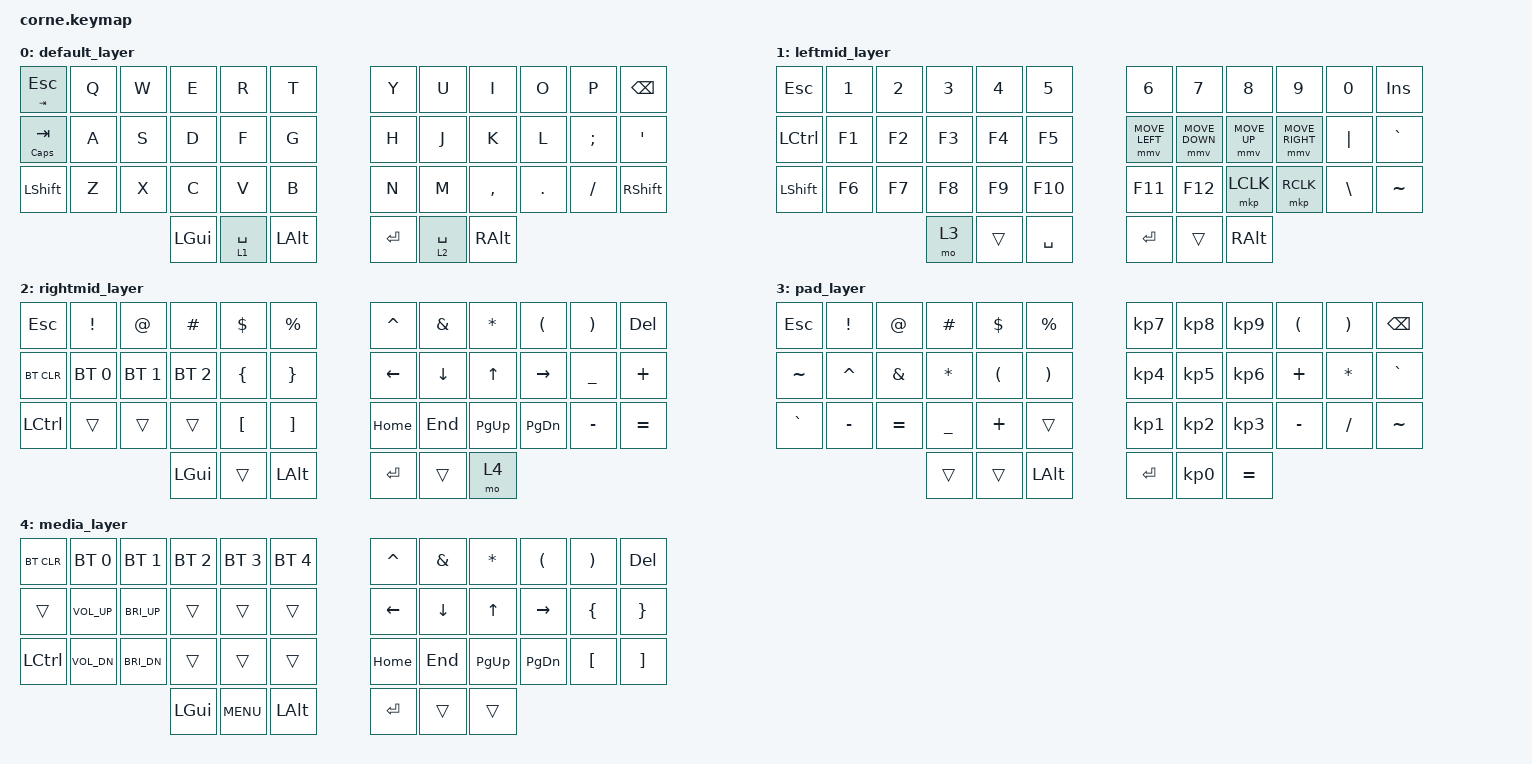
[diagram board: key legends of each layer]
/*
 * Copyright (c) 2020 The ZMK Contributors
 *
 * SPDX-License-Identifier: MIT
 */

#include <behaviors.dtsi>
#include <dt-bindings/zmk/bt.h>
#include <dt-bindings/zmk/keys.h>
#include <dt-bindings/zmk/pointing.h>
#include <dt-bindings/zmk/pointing.h>

/ {
    keymap {
        compatible = "zmk,keymap";

        default_layer {
            // -----------------------------------------------------------------------------------------
            // | E/T  |  Q  |  W  |  E  |  R  |  T  |   |  Y  |  U   |  I  |  O  |  P  | BSPC |
            // | CAPS |  A  |  S  |  D  |  F  |  G  |   |  H  |  J   |  K  |  L  |  ;  |  '   |
            // | SHFT |  Z  |  X  |  C  |  V  |  B  |   |  N  |  M   |  ,  |  .  |  /  | RSHFT|
            //                    | GUI |SPC/1| ALT |   | ENT | SPC/2| ALT |

            bindings = <
&mt TAB ESC   &kp Q  &kp W  &kp E     &kp R        &kp T       &kp Y    &kp U        &kp I      &kp O    &kp P     &kp BSPC
&mt CAPS TAB  &kp A  &kp S  &kp D     &kp F        &kp G       &kp H    &kp J        &kp K      &kp L    &kp SEMI  &kp SQT
&kp LSHFT     &kp Z  &kp X  &kp C     &kp V        &kp B       &kp N    &kp M        &kp COMMA  &kp DOT  &kp FSLH  &kp RSHFT
                            &kp LGUI  &lt 1 SPACE  &kp LALT    &kp RET  &lt 2 SPACE  &kp RALT
            >;
        };

        leftmid_layer {
            // -----------------------------------------------------------------------------------------
            // |  ESC |  1  |  2  |  3  |  4  |  5  |   |  6  |  7  |  8  |  9  |  0  | INS  |
            // | CTRL |  f1 | f2  | f3  |  f4 |  5  |   | LFT | DWN |  UP | RGT | "|" |  `   |
            // | SHFT |  f  | f   | f8  |  f9 | f10 |   | F11 | F12 |  {  |  }  |  \  |  ~   |
            //                    | pad |     | SPC |   | ENT |     | ALT |

            bindings = <
&kp ESC    &kp N1  &kp N2  &kp N3  &kp N4  &kp N5       &kp N6          &kp N7          &kp N8        &kp N9           &kp N0    &kp INS
&kp LCTRL  &kp F1  &kp F2  &kp F3  &kp F4  &kp F5       &mmv MOVE_LEFT  &mmv MOVE_DOWN  &mmv MOVE_UP  &mmv MOVE_RIGHT  &kp PIPE  &kp GRAVE
&kp LSHFT  &kp F6  &kp F7  &kp F8  &kp F9  &kp F10      &kp F11         &kp F12         &mkp LCLK     &mkp RCLK        &kp BSLH  &kp TILDE
                           &mo 3   &trans  &kp SPACE    &kp RET         &trans          &kp RALT
            >;
        };

        rightmid_layer {
            // -----------------------------------------------------------------------------------------
            // |  ESC |  !  |  @  |  #  |  $  |  %  |   |  ^  |  &  |  *  |  (  |  )  | DEL  |
            // | BTCLR| BT1 | BT2 | BT3 |  {  |  }  |   | LFT | DWN |  UP | RGT |  _  |  =   |
            // | LCTRL|     |     |     |  [  |  ]  |   | HOM | END | PUP | PDN |  -  |  +   |
            //                    | GUI |     | ALT |   | ENT |     |  4  |

            bindings = <
&kp ESC     &kp EXCL      &kp AT        &kp HASH      &kp DLLR  &kp PRCNT    &kp CARET  &kp AMPS  &kp ASTRK  &kp LPAR   &kp RPAR   &kp DEL
&bt BT_CLR  &bt BT_SEL 0  &bt BT_SEL 1  &bt BT_SEL 2  &kp LBRC  &kp RBRC     &kp LEFT   &kp DOWN  &kp UP     &kp RIGHT  &kp UNDER  &kp PLUS
&kp LCTRL   &trans        &trans        &trans        &kp LBKT  &kp RBKT     &kp HOME   &kp END   &kp PG_UP  &kp PG_DN  &kp MINUS  &kp EQUAL
                                        &kp LGUI      &trans    &kp LALT     &kp RET    &trans    &mo 4
            >;
        };

        pad_layer {
            // -----------------------------------------------------------------------------------------
            // | ESC |  !  |  @  |  #  |  $  |  %  |   |  7  |  8  |  9  |  (  |  )  | BSPC |
            // |  ~  |  ^  |  &  |  *  |  (  |  )  |   |  4  |  5  |  6  |  +  |  *  |  `   |
            // |  `  |  -  |  =  |  _  |  +  |     |   |  1  |  2  |  3  |  -  |  /  |  ~   |
            //                   |     |     | ALT |   | ENT |  0  |  =  |

            bindings = <
&kp ESC    &kp EXCL   &kp AT     &kp HASH   &kp DLLR  &kp PRCNT    &kp KP_N7  &kp KP_N8  &kp KP_N9  &kp LPAR   &kp RPAR   &kp BSPC
&kp TILDE  &kp CARET  &kp AMPS   &kp ASTRK  &kp LPAR  &kp RPAR     &kp KP_N4  &kp KP_N5  &kp KP_N6  &kp PLUS   &kp ASTRK  &kp GRAVE
&kp GRAVE  &kp MINUS  &kp EQUAL  &kp UNDER  &kp PLUS  &trans       &kp KP_N1  &kp KP_N2  &kp KP_N3  &kp MINUS  &kp FSLH   &kp TILDE
                                 &trans     &trans    &kp LALT     &kp RET    &kp KP_N0  &kp EQUAL
            >;
        };

        media_layer {
            // -----------------------------------------------------------------------------------------
            // | BTCLR| BT1 | BT2 | BT3 | BT4  | BT5 |   |  ^  |  &  |  *  |  (  |  )  | DEL  |
            // |      |VOLUP|BRIUP| BT3 |      |     |   | LFT | DWN |  UP | RGT |  _  |  =   |
            // | LCTRL|VOLDN|   DN|     |      |     |   | HOM | END | PUP | PDN |  -  |  +   |
            //                    | GUI | MENU | ALT |   | ENT |     |    |

            bindings = <
&bt BT_CLR  &bt BT_SEL 0  &bt BT_SEL 1  &bt BT_SEL 2  &bt BT_SEL 3  &bt BT_SEL 4    &kp CARET  &kp AMPS  &kp ASTRK  &kp LPAR   &kp RPAR  &kp DEL
&trans      &kp C_VOL_UP  &kp C_BRI_UP  &trans        &trans        &trans          &kp LEFT   &kp DOWN  &kp UP     &kp RIGHT  &kp LBRC  &kp RBRC
&kp LCTRL   &kp C_VOL_DN  &kp C_BRI_DN  &trans        &trans        &trans          &kp HOME   &kp END   &kp PG_UP  &kp PG_DN  &kp LBKT  &kp RBKT
                                        &kp LGUI      &kp K_MENU    &kp LALT        &kp RET    &trans    &trans
            >;
        };
    };
};
